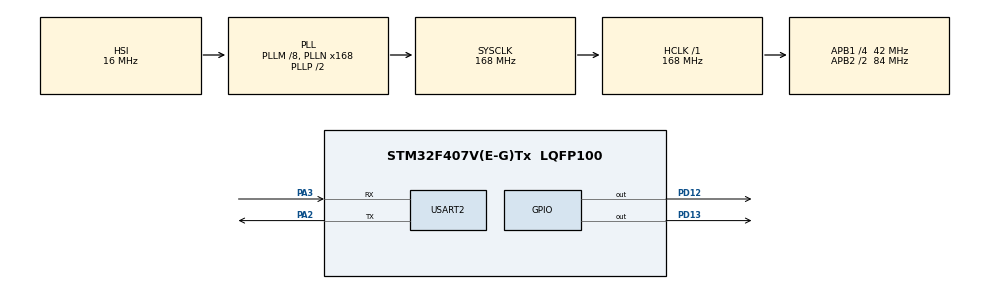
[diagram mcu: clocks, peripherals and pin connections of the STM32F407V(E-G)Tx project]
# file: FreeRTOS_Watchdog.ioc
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FREERTOS.Tasks01=task1,24,128,StartTask1,Default,NULL,Dynamic,NULL,NULL;task2,24,128,StartTask2,Default,NULL,Dynamic,NULL,NULL;watchdogTask,32,128,StartWatchdogTask,Default,NULL,Dynamic,NULL,NULL
FREERTOS.configUSE_NEWLIB_REENTRANT=1
IWDG.Prescaler=IWDG_PRESCALER_32
Mcu.Family=STM32F4
Mcu.Name=STM32F407V(E-G)Tx
Mcu.Package=LQFP100
NVIC.PriorityGroup=NVIC_PRIORITYGROUP_4
NVIC.TIM1_UP_TIM10_IRQn=true\:15\:0\:false\:false\:true\:false\:false\:true\:true
NVIC.TimeBase=TIM1_UP_TIM10_IRQn
NVIC.TimeBaseIP=TIM1
PA2.Mode=Asynchronous
PA2.Signal=USART2_TX
PA3.Mode=Asynchronous
PA3.Signal=USART2_RX
PD12.Signal=GPIO_Output
PD13.Signal=GPIO_Output
ProjectManager.HeapSize=0x200
ProjectManager.StackSize=0x400
ProjectManager.TargetToolchain=STM32CubeIDE
RCC.48MHZClocksFreq_Value=84000000
RCC.AHBFreq_Value=168000000
RCC.APB1CLKDivider=RCC_HCLK_DIV4
RCC.APB1Freq_Value=42000000
RCC.APB1TimFreq_Value=84000000
RCC.APB2CLKDivider=RCC_HCLK_DIV2
RCC.APB2Freq_Value=84000000
RCC.APB2TimFreq_Value=168000000
RCC.CortexFreq_Value=168000000
RCC.HCLKFreq_Value=168000000
RCC.HSE_VALUE=25000000
RCC.HSI_VALUE=16000000
RCC.LSE_VALUE=32768
RCC.PLLM=8
RCC.PLLN=168
RCC.SYSCLKFreq_VALUE=168000000
RCC.SYSCLKSource=RCC_SYSCLKSOURCE_PLLCLK
RCC.VCOOutputFreq_Value=336000000
USART2.VirtualMode=VM_ASYNC
VP_FREERTOS_VS_CMSIS_V2.Mode=CMSIS_V2
VP_IWDG_VS_IWDG.Mode=IWDG_Activate
VP_SYS_VS_tim1.Mode=TIM1
board=custom

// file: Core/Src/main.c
/* USER CODE BEGIN Header */
/**
  ******************************************************************************
  * @file           : main.c
  * @brief          : Main program body
  ******************************************************************************
  * @attention
  *
  * Copyright (c) 2026 STMicroelectronics.
  * All rights reserved.
  *
  * This software is licensed under terms that can be found in the LICENSE file
  * in the root directory of this software component.
  * If no LICENSE file comes with this software, it is provided AS-IS.
  *
  ******************************************************************************
  */
/* USER CODE END Header */
#include "main.h"
#include "cmsis_os.h"

/* USER CODE BEGIN Includes */
#include <stdio.h>
/* USER CODE END Includes */

IWDG_HandleTypeDef hiwdg;

UART_HandleTypeDef huart2;

/* Definitions for task1 */
osThreadId_t task1Handle;
const osThreadAttr_t task1_attributes = {
  .name = "task1",
  .stack_size = 128 * 4,
  .priority = (osPriority_t) osPriorityNormal,
};
/* Definitions for task2 */
osThreadId_t task2Handle;
const osThreadAttr_t task2_attributes = {
  .name = "task2",
  .stack_size = 128 * 4,
  .priority = (osPriority_t) osPriorityNormal,
};
/* Definitions for watchdogTask */
osThreadId_t watchdogTaskHandle;
const osThreadAttr_t watchdogTask_attributes = {
  .name = "watchdogTask",
  .stack_size = 128 * 4,
  .priority = (osPriority_t) osPriorityAboveNormal,
};
/* USER CODE BEGIN PV */
volatile uint8_t task1Alive = 0;
volatile uint8_t task2Alive = 0;
/* USER CODE END PV */

void SystemClock_Config(void);
static void MX_GPIO_Init(void);
static void MX_IWDG_Init(void);
static void MX_USART2_UART_Init(void);
void StartTask1(void *argument);
void StartTask2(void *argument);
void StartWatchdogTask(void *argument);

int main(void)
{

  /* MCU Configuration--------------------------------------------------------*/

  /* Reset of all peripherals, Initializes the Flash interface and the Systick. */
  HAL_Init();

  /* Configure the system clock */
  SystemClock_Config();

  /* Initialize all configured peripherals */
  MX_GPIO_Init();
  MX_IWDG_Init();
  MX_USART2_UART_Init();

  /* Init scheduler */
  osKernelInitialize();

  /* Create the thread(s) */
  /* creation of task1 */
  task1Handle = osThreadNew(StartTask1, NULL, &task1_attributes);

  /* creation of task2 */
  task2Handle = osThreadNew(StartTask2, NULL, &task2_attributes);

  /* creation of watchdogTask */
  watchdogTaskHandle = osThreadNew(StartWatchdogTask, NULL, &watchdogTask_attributes);

  /* Start scheduler */
  osKernelStart();

  /* We should never get here as control is now taken by the scheduler */

  /* Infinite loop */
  while (1)
  {

  }
}

void SystemClock_Config(void)
{
  RCC_OscInitTypeDef RCC_OscInitStruct = {0};
  RCC_ClkInitTypeDef RCC_ClkInitStruct = {0};

  /** Configure the main internal regulator output voltage
  */
  __HAL_RCC_PWR_CLK_ENABLE();
  __HAL_PWR_VOLTAGESCALING_CONFIG(PWR_REGULATOR_VOLTAGE_SCALE1);

  /** Initializes the RCC Oscillators according to the specified parameters
  * in the RCC_OscInitTypeDef structure.
  */
  RCC_OscInitStruct.OscillatorType = RCC_OSCILLATORTYPE_HSI|RCC_OSCILLATORTYPE_LSI;
  RCC_OscInitStruct.HSIState = RCC_HSI_ON;
  RCC_OscInitStruct.HSICalibrationValue = RCC_HSICALIBRATION_DEFAULT;
  RCC_OscInitStruct.LSIState = RCC_LSI_ON;
  RCC_OscInitStruct.PLL.PLLState = RCC_PLL_ON;
  RCC_OscInitStruct.PLL.PLLSource = RCC_PLLSOURCE_HSI;
  RCC_OscInitStruct.PLL.PLLM = 8;
  RCC_OscInitStruct.PLL.PLLN = 168;
  RCC_OscInitStruct.PLL.PLLP = RCC_PLLP_DIV2;
  RCC_OscInitStruct.PLL.PLLQ = 4;
  if (HAL_RCC_OscConfig(&RCC_OscInitStruct) != HAL_OK)
  {
    Error_Handler();
  }

  /** Initializes the CPU, AHB and APB buses clocks
  */
  RCC_ClkInitStruct.ClockType = RCC_CLOCKTYPE_HCLK|RCC_CLOCKTYPE_SYSCLK
                              |RCC_CLOCKTYPE_PCLK1|RCC_CLOCKTYPE_PCLK2;
  RCC_ClkInitStruct.SYSCLKSource = RCC_SYSCLKSOURCE_PLLCLK;
  RCC_ClkInitStruct.AHBCLKDivider = RCC_SYSCLK_DIV1;
  RCC_ClkInitStruct.APB1CLKDivider = RCC_HCLK_DIV4;
  RCC_ClkInitStruct.APB2CLKDivider = RCC_HCLK_DIV2;

  if (HAL_RCC_ClockConfig(&RCC_ClkInitStruct, FLASH_LATENCY_5) != HAL_OK)
  {
    Error_Handler();
  }
}

static void MX_IWDG_Init(void)
{

  hiwdg.Instance = IWDG;
  hiwdg.Init.Prescaler = IWDG_PRESCALER_32;
  hiwdg.Init.Reload = 4095;
  if (HAL_IWDG_Init(&hiwdg) != HAL_OK)
  {
    Error_Handler();
  }

}

static void MX_USART2_UART_Init(void)
{

  huart2.Instance = USART2;
  huart2.Init.BaudRate = 115200;
  huart2.Init.WordLength = UART_WORDLENGTH_8B;
  huart2.Init.StopBits = UART_STOPBITS_1;
  huart2.Init.Parity = UART_PARITY_NONE;
  huart2.Init.Mode = UART_MODE_TX_RX;
  huart2.Init.HwFlowCtl = UART_HWCONTROL_NONE;
  huart2.Init.OverSampling = UART_OVERSAMPLING_16;
  if (HAL_UART_Init(&huart2) != HAL_OK)
  {
    Error_Handler();
  }

}

static void MX_GPIO_Init(void)
{
  GPIO_InitTypeDef GPIO_InitStruct = {0};

  /* GPIO Ports Clock Enable */
  __HAL_RCC_GPIOA_CLK_ENABLE();
  __HAL_RCC_GPIOD_CLK_ENABLE();

  /*Configure GPIO pin Output Level */
  HAL_GPIO_WritePin(GPIOD, GPIO_PIN_12|GPIO_PIN_13, GPIO_PIN_RESET);

  /*Configure GPIO pins : PD12 PD13 */
  GPIO_InitStruct.Pin = GPIO_PIN_12|GPIO_PIN_13;
  GPIO_InitStruct.Mode = GPIO_MODE_OUTPUT_PP;
  GPIO_InitStruct.Pull = GPIO_NOPULL;
  GPIO_InitStruct.Speed = GPIO_SPEED_FREQ_LOW;
  HAL_GPIO_Init(GPIOD, &GPIO_InitStruct);

}

/* USER CODE BEGIN 4 */
int _write(int file, char *ptr, int len)
{
    HAL_UART_Transmit(&huart2, (uint8_t*)ptr, len, HAL_MAX_DELAY);
    return len;
}
/* USER CODE END 4 */

void StartTask1(void *argument)
{
  /* USER CODE BEGIN 5 */
  /* Infinite loop */
  for(;;)
  {
	  printf("Task1 running\r\n");
	     task1Alive = 1;
	     osDelay(500);
  }
  /* USER CODE END 5 */
}

void StartTask2(void *argument)
{
  /* USER CODE BEGIN StartTask2 */
  /* Infinite loop */
  for(;;)
  {
	  printf("Task2 running\r\n");
	     task2Alive = 1;
	     osDelay(500);
	     while(1);
  }
  /* USER CODE END StartTask2 */
}

void StartWatchdogTask(void *argument)
{
  /* USER CODE BEGIN StartWatchdogTask */
  /* Infinite loop */
  for(;;)
  {

	    if(task1Alive && task2Alive)
	    {
	        task1Alive = 0;
	        task2Alive = 0;
	        HAL_IWDG_Refresh(&hiwdg);
	        printf("Watchdog kicked\r\n");
	    }
	    else
	    {
	        printf("WARNING: task not responding\r\n");
	    }
	    osDelay(1000);
  }
  /* USER CODE END StartWatchdogTask */
}

void HAL_TIM_PeriodElapsedCallback(TIM_HandleTypeDef *htim)
{
  if (htim->Instance == TIM1)
  {
    HAL_IncTick();
  }
}

void Error_Handler(void)
{
  __disable_irq();
  while (1)
  {
  }
}
